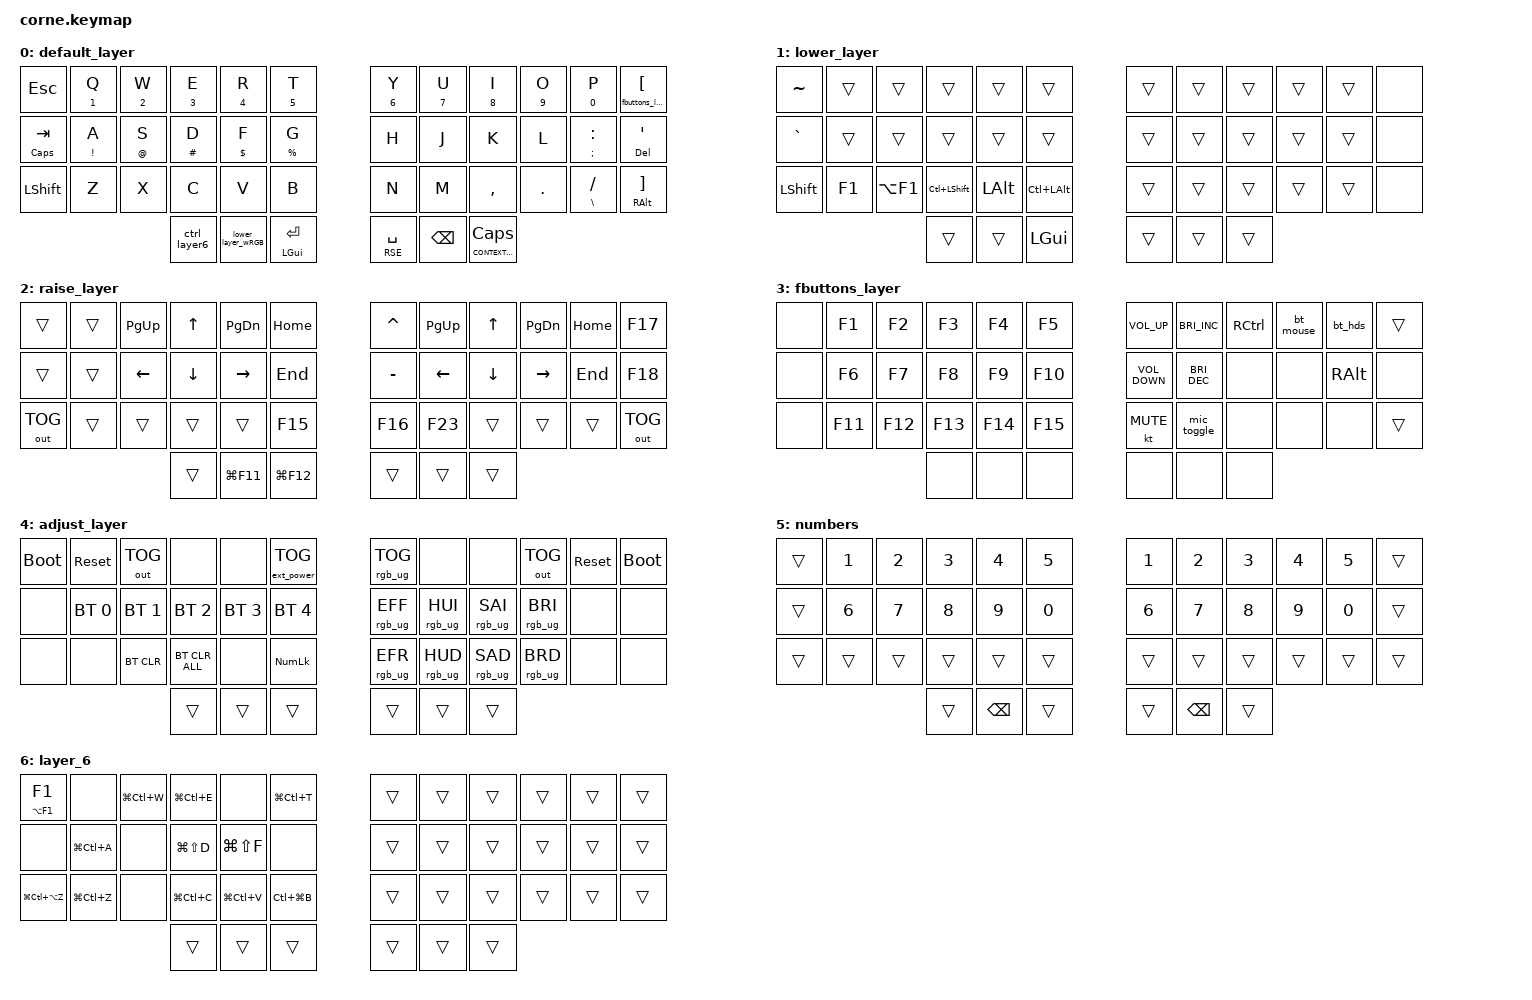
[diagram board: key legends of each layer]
/*
 * Copyright (c) 2020 The ZMK Contributors
 *
 * SPDX-License-Identifier: MIT
 */

#include <dt-bindings/led/led.h>
#include <dt-bindings/zmk/reset.h>
#include <behaviors.dtsi>
#include <dt-bindings/zmk/bt.h>
#include <dt-bindings/zmk/ext_power.h>
#include <dt-bindings/zmk/keys.h>
#include <dt-bindings/zmk/outputs.h>
#include <dt-bindings/zmk/rgb.h>

&led_strip { chain-length = <27>; };

#define DEF 0
#define LWR 1
#define RSE 2
#define FLR 3
#define ADJ 4

&lt {
    /*quick_tap_ms = <219>;*/

    tapping-term-ms = <350>;
};

&mt {
    /*quick_tap_ms = <219>;*/

    tapping-term-ms = <350>;
    flavor = "tap-preferred";
};

/ {
    behaviors {
        tmux_leader: tmux_leader {
            compatible = "zmk,behavior-tap-dance";
            label = "TMUX_LEADER";
            #binding-cells = <0>;
            bindings = <&kp LCTRL>, <&kp LC(A)>;

            tapping-term-ms = <200>;
        };

        numbers_ht: numbers_ht {
            compatible = "zmk,behavior-hold-tap";
            label = "NUMBERS_HT";
            bindings = <&numbers_layer_wRGB>, <&general_layer_wRGB>;

            #binding-cells = <2>;
            tapping-term-ms = <200>;
            flavor = "tap-preferred";
        };

        raise_ht2: raise_ht2 {
            compatible = "zmk,behavior-hold-tap";
            label = "RAISE_HT2";
            bindings = <&raise_layer_wRGB>, <&kp>;

            #binding-cells = <2>;
            tapping-term-ms = <200>;
            flavor = "tap-preferred";
        };

        fbuttons_ht2: fbuttons_ht2 {
            compatible = "zmk,behavior-hold-tap";
            label = "FBUTTONS_HT2";
            bindings = <&fbuttons_layer_wRGB>, <&kp>;

            #binding-cells = <2>;
            tapping-term-ms = <200>;
            flavor = "tap-preferred";
        };

        ctrl_layer6: ctrl_layer6 {
            compatible = "zmk,behavior-tap-dance";
            label = "CTRL_LAYER6";
            #binding-cells = <0>;
            bindings = <&kp LCTRL>, <&sl 6>;

            tapping-term-ms = <200>;
        };
    };

    combos {
        compatible = "zmk,combos";

        ParaLeft {
            bindings = <&kp LEFT_PARENTHESIS>;
            key-positions = <4 5>;
            timeout-ms = <20>;
        };

        ParaRight {
            bindings = <&kp RIGHT_PARENTHESIS>;
            key-positions = <6 7>;
            timeout-ms = <20>;
        };

        BrakLeft {
            bindings = <&kp LEFT_BRACKET>;
            key-positions = <16 17>;
            timeout-ms = <20>;
        };

        BrakRight {
            bindings = <&kp RIGHT_BRACKET>;
            key-positions = <18 19>;
            timeout-ms = <20>;
        };

        BraceLeft {
            bindings = <&kp LEFT_BRACE>;
            key-positions = <28 29>;
            timeout-ms = <20>;
        };

        BraceRight {
            bindings = <&kp RIGHT_BRACE>;
            key-positions = <30 31>;
            timeout-ms = <20>;
        };

        DoubleQuote {
            bindings = <&kp DOUBLE_QUOTES>;
            key-positions = <15 16>;
            timeout-ms = <20>;
        };

        SingleQuote {
            bindings = <&kp APOSTROPHE>;
            key-positions = <19 20>;
            timeout-ms = <20>;
        };

        //LangRu {
        //    bindings = <&kp LG(F11)>;
        //    key-positions = <0 1>;
        //    timeout-ms = <20>;
        //};
        //LangUs {
        //   bindings = <&kp LG(F12)>;
        //    key-positions = <10 11>;
        //    timeout-ms = <20>;
        //};
        //LangRuL {
        //    bindings = <&kp LG(F11)>;
        //    key-positions = <36 38>;
        //    timeout-ms = <20>;
        //};
        //LangUsL {
        //    bindings = <&kp LG(F12)>;
        //    key-positions = <39 41>;
        //    timeout-ms = <20>;
        //};

        TildaSign {
            bindings = <&kp TILDE>;
            key-positions = <0 12>;
            timeout-ms = <20>;
        };

        GraveSign {
            bindings = <&kp GRAVE>;
            key-positions = <12 24>;
            timeout-ms = <20>;
        };

        MinusSign {
            bindings = <&kp MINUS>;
            key-positions = <3 4>;
            timeout-ms = <20>;
        };

        PlusSign {
            bindings = <&kp PLUS>;
            key-positions = <2 3>;
            timeout-ms = <20>;
        };

        UnderscoreSign {
            bindings = <&kp UNDERSCORE>;
            key-positions = <7 8>;
            timeout-ms = <20>;
        };

        PipeSign {
            bindings = <&kp PIPE>;
            key-positions = <8 9>;
            timeout-ms = <20>;
        };

        Mainbootloaderleft {
            bindings = <&bootloader>;
            key-positions = <0 4>;
            timeout-ms = <20>;
        };

        Mainbootloaderright {
            bindings = <&bootloader>;
            key-positions = <7 11>;
            timeout-ms = <20>;
        };

        RALT_ALT {
            bindings = <&mt RALT C_PLAY_PAUSE>;
            key-positions = <13 25>;
        };

        equal {
            bindings = <&kp KP_EQUAL>;
            key-positions = <14 15>;
            timeout-ms = <20>;
        };

        rgb_numbers_left {
            bindings = <&numbers_ht 0 0>;
            key-positions = <2 3 1 4>;
        };

        star {
            bindings = <&kp ASTERISK>;
            key-positions = <26 27>;
        };

        slash {
            bindings = <&kp SLASH>;
            key-positions = <27 28>;
        };

        rgb_numbers_right {
            bindings = <&numbers_ht 0 0>;
            key-positions = <7 8 9 10>;
        };

        adjust_layer {
            bindings = <&adjust_layer_wRGB>;
            key-positions = <0 12 24>;
        };

        r_enter {
            bindings = <&kp ENTER>;
            key-positions = <34 35>;
        };

        rctrl {
            bindings = <&kp RCTRL>;
            key-positions = <19 20 21>;
        };

        ralt_e {
            bindings = <&kp RA(E)>;
            key-positions = <2 3 4>;
        };

        ralt_x {
            bindings = <&kp RA(X)>;
            key-positions = <25 26 27>;
        };

        ralt_b {
            bindings = <&kp RA(B)>;
            key-positions = <29 28 27>;
        };

        ralt_j {
            bindings = <&kp RA(J)>;
            key-positions = <18 19 20>;
        };

        ralt_m {
            bindings = <&kp RA(M)>;
            key-positions = <30 31 32>;
        };

        ralt_i {
            bindings = <&kp RA(I)>;
            key-positions = <7 8 9>;
        };

        ralt_t {
            bindings = <&kp RA(T)>;
            key-positions = <5 4 3>;
        };

        super+ctrl+alt {
            bindings = <&kp LG(LC(LEFT_ALT))>;
            key-positions = <35 34 33>;
        };
    };
};

/ {
    macros {
        numbers_layer_wRGB: numbers_layer_wRGB_ON {
            compatible = "zmk,behavior-macro";
            #binding-cells = <0>;
            bindings =
                <&macro_press>,
                <&to 5 &rgb_ug RGB_COLOR_HSB(111,100,3)>,
                <&macro_release>;

            label = "numbers_layer_wRGB_ON";
        };

        general_layer_wRGB: numbers_layer_wRGB_OFF {
            compatible = "zmk,behavior-macro";
            #binding-cells = <0>;
            bindings =
                <&macro_press>,
                <&to 0 &rgb_ug RGB_COLOR_HSB(302,100,3)>,
                <&macro_release>;

            label = "numbers_layer_wRGB_OFF";
        };

        lower_layer_wRGB: lower_layer_wRGB {
            compatible = "zmk,behavior-macro";
            #binding-cells = <0>;
            wait-ms = <0>;
            tap-ms = <0>;
            bindings =
                <&macro_press>,
                <&mo 1>,
                <&macro_tap>,
                <&rgb_ug RGB_COLOR_HSB(246,100,3)>,
                <&macro_pause_for_release>,
                <&macro_release>,
                <&mo 1>,
                <&macro_tap>,
                <&rgb_ug RGB_COLOR_HSB(302,100,3)>;

            label = "LOWER_LAYER_WRGB";
        };

        raise_layer_wRGB: raise_layer_wRGB {
            compatible = "zmk,behavior-macro";
            #binding-cells = <0>;
            wait-ms = <0>;
            tap-ms = <0>;
            bindings =
                <&macro_press>,
                <&mo 2>,
                <&macro_tap>,
                <&rgb_ug RGB_COLOR_HSB(28,100,3)>,
                <&macro_pause_for_release>,
                <&macro_release>,
                <&mo 2>,
                <&macro_tap>,
                <&rgb_ug RGB_COLOR_HSB(302,100,3)>;

            label = "RAISE_LAYER_WRGB";
        };

        mic_toggle: mic_toggle {
            compatible = "zmk,behavior-macro";
            #binding-cells = <0>;
            bindings = <&kp LC(M)>;
            label = "MIC_TOGGLE";
        };

        bt_hds: bt_hds {
            compatible = "zmk,behavior-macro";
            #binding-cells = <0>;
            bindings = <&kp LC(LG(P))>;
            label = "BT_HDS";
        };

        bt_mouse: bt_mouse {
            compatible = "zmk,behavior-macro";
            #binding-cells = <0>;
            bindings = <&kp LC(LG(M))>;
            label = "BT_MOUSE";
        };

        fbuttons_layer_wRGB: fbuttons_layer_wRGB {
            compatible = "zmk,behavior-macro";
            #binding-cells = <0>;
            wait-ms = <0>;
            tap-ms = <0>;
            bindings =
                <&macro_press>,
                <&mo 3>,
                <&macro_tap>,
                <&rgb_ug RGB_COLOR_HSB(170,100,3)>,
                <&macro_pause_for_release>,
                <&macro_release>,
                <&mo 3>,
                <&macro_tap>,
                <&rgb_ug RGB_COLOR_HSB(302,100,3)>;

            label = "FBUTTONS_LAYER_WRGB";
        };

        adjust_layer_wRGB: adjust_layer_wRGB {
            compatible = "zmk,behavior-macro";
            #binding-cells = <0>;
            wait-ms = <0>;
            tap-ms = <0>;
            bindings =
                <&macro_press>,
                <&mo 4>,
                <&macro_tap>,
                <&rgb_ug RGB_COLOR_HSB(360,100,3)>,
                <&macro_pause_for_release>,
                <&macro_release>,
                <&mo 4>,
                <&macro_tap>,
                <&rgb_ug RGB_COLOR_HSB(302,100,3)>;

            label = "ADJUST_LAYER_WRGB";
        };
    };

    keymap {
        compatible = "zmk,keymap";

        default_layer {
            bindings = <
&kp ESC           &mt NUMBER_1 Q     &mt NUMBER_2 W  &mt NUMBER_3 E  &mt NUMBER_4 R     &mt NUMBER_5 T    &mt NUMBER_6 Y        &mt NUMBER_7 U  &mt NUMBER_8 I               &mt NUMBER_9 O  &mt NUMBER_0 P       &fbuttons_ht2 0 LEFT_BRACKET
&mt CAPSLOCK TAB  &mt EXCLAMATION A  &mt AT_SIGN S   &mt HASH D      &mt DOLLAR F       &mt PERCENT G     &kp H                 &kp J           &kp K                        &kp L           &mt SEMICOLON COLON  &mt DEL SQT
&kp LEFT_SHIFT    &kp Z              &kp X           &kp C           &kp V              &kp B             &kp N                 &kp M           &kp COMMA                    &kp DOT         &mt BACKSLASH FSLH   &mt RALT RIGHT_BRACKET
                                                     &ctrl_layer6    &lower_layer_wRGB  &mt LGUI RET      &raise_ht2 RSE SPACE  &kp BSPC        &mt K_CONTEXT_MENU CAPSLOCK
            >;
        };

        lower_layer {
            bindings = <
&kp TILDE  &trans  &trans      &trans              &trans        &trans              &trans  &trans  &trans  &trans  &trans  &none
&kp GRAVE  &trans  &trans      &trans              &trans        &trans              &trans  &trans  &trans  &trans  &trans  &none
&kp LSHFT  &kp F1  &kp LA(F1)  &kp LC(LEFT_SHIFT)  &kp LEFT_ALT  &kp LC(LEFT_ALT)    &trans  &trans  &trans  &trans  &trans  &none
                               &trans              &trans        &kp LGUI            &trans  &trans  &trans
            >;
        };

        raise_layer {
            bindings = <
&trans        &trans  &kp PG_UP  &kp UP    &kp PG_DN    &kp HOME       &kp CARET  &kp PG_UP  &kp UP    &kp PG_DN  &kp HOME  &kp F17
&trans        &trans  &kp LEFT   &kp DOWN  &kp RIGHT    &kp END        &kp MINUS  &kp LEFT   &kp DOWN  &kp RIGHT  &kp END   &kp F18
&out OUT_TOG  &trans  &trans     &trans    &trans       &kp F15        &kp F16    &kp F23    &trans    &trans     &trans    &out OUT_TOG
                                 &trans    &kp LG(F11)  &kp LG(F12)    &trans     &trans     &trans
            >;
        };

        fbuttons_layer {
            bindings = <
&none  &kp F1   &kp F2   &kp F3   &kp F4   &kp F5     &kp C_VOLUME_UP    &kp C_BRIGHTNESS_INC  &kp RCTRL  &bt_mouse  &bt_hds        &trans
&none  &kp F6   &kp F7   &kp F8   &kp F9   &kp F10    &kp C_VOLUME_DOWN  &kp C_BRIGHTNESS_DEC  &none      &none      &kp RIGHT_ALT  &none
&none  &kp F11  &kp F12  &kp F13  &kp F14  &kp F15    &kt K_MUTE         &mic_toggle           &none      &none      &none          &trans
                         &none    &none    &none      &none              &none                 &none
            >;
        };

        adjust_layer {
            bindings = <
&bootloader  &sys_reset    &out OUT_TOG  &none           &none         &ext_power EP_TOG    &rgb_ug RGB_TOG  &none            &none            &out OUT_TOG     &sys_reset  &bootloader
&none        &bt BT_SEL 0  &bt BT_SEL 1  &bt BT_SEL 2    &bt BT_SEL 3  &bt BT_SEL 4         &rgb_ug RGB_EFF  &rgb_ug RGB_HUI  &rgb_ug RGB_SAI  &rgb_ug RGB_BRI  &none       &none
&none        &none         &bt BT_CLR    &bt BT_CLR_ALL  &none         &kp KP_NUMLOCK       &rgb_ug RGB_EFR  &rgb_ug RGB_HUD  &rgb_ug RGB_SAD  &rgb_ug RGB_BRD  &none       &none
                                         &trans          &trans        &trans               &trans           &trans           &trans
            >;
        };

        numbers {
            bindings = <
&trans  &kp NUMBER_1  &kp NUMBER_2  &kp NUMBER_3  &kp NUMBER_4   &kp NUMBER_5    &kp NUMBER_1  &kp NUMBER_2   &kp NUMBER_3  &kp NUMBER_4  &kp NUMBER_5  &trans
&trans  &kp NUMBER_6  &kp NUMBER_7  &kp NUMBER_8  &kp NUMBER_9   &kp NUMBER_0    &kp NUMBER_6  &kp NUMBER_7   &kp NUMBER_8  &kp NUMBER_9  &kp NUMBER_0  &trans
&trans  &trans        &trans        &trans        &trans         &trans          &trans        &trans         &trans        &trans        &trans        &trans
                                    &trans        &kp BACKSPACE  &trans          &trans        &kp BACKSPACE  &trans
            >;
        };

        layer_6 {
            bindings = <
&mt LA(F1) F1      &none          &kp LG(LC(W))  &kp LG(LC(E))  &none          &kp LG(LC(T))    &trans  &trans  &trans  &trans  &trans  &trans
&none              &kp LG(LC(A))  &none          &kp LG(LS(D))  &kp LG(LS(F))  &none            &trans  &trans  &trans  &trans  &trans  &trans
&kp LG(LC(LA(Z)))  &kp LG(LC(Z))  &none          &kp LG(LC(C))  &kp LG(LC(V))  &kp LC(LG(B))    &trans  &trans  &trans  &trans  &trans  &trans
                                                 &trans         &trans         &trans           &trans  &trans  &trans
            >;
        };
    };
};
